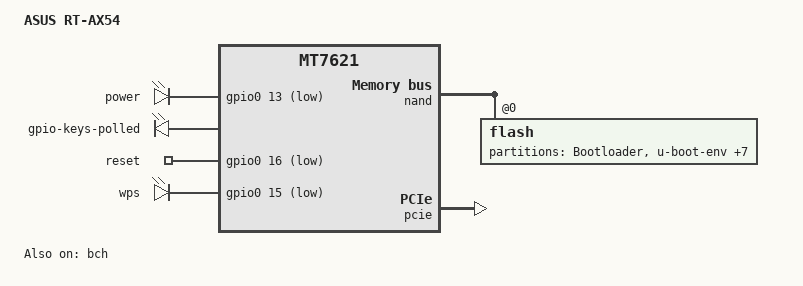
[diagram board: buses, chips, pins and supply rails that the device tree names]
/dts-v1/;

#include "mt7621.dtsi"
#include <dt-bindings/input/input.h>
#include "mt7621-raeth-gmac2.dtsi"
#include "mt7621-pinctrl-default-gpio.dtsi"

/ {
	compatible = "mediatek,mt7621-soc";
	model = "ASUS RT-AX54";

	chosen {
		bootargs = "console=ttyS0,115200";
	};

	leds {
		compatible = "gpio-leds";

		sys_blue {
			label = "power";
			gpios = <&gpio0 13 GPIO_ACTIVE_LOW>;
		};

	gpio-keys-polled {
		compatible = "gpio-keys-polled";
		#address-cells = <1>;
		#size-cells = <0>;
		poll-interval = <20>;
		};

		reset {
			label = "reset";
			gpios = <&gpio0 16 GPIO_ACTIVE_LOW>;
			linux,code = <KEY_RESTART>;
		};

		wps {
			label = "wps";
			gpios = <&gpio0 15 GPIO_ACTIVE_LOW>;
			linux,code = <KEY_WPS_BUTTON>;
		};
	};
};

&bch {
	status = "okay";
};

&nand {
	status = "okay";

	flash@0 {
		reg = <0>;
		nand-ecc-mode = "hw"; /* temporary, soon change to native nmbm when ported */
		partitions {
			compatible = "fixed-partitions";
			#address-cells = <1>;
			#size-cells = <1>;

			partition@0 {
				label = "Bootloader";
				reg = <0x00000 0x80000>; /* 512k */
			};
			
			partition@80000 {
				label = "u-boot-env";
				reg = <0x80000 0x80000>; /* 512k */
			};
			
			partition@100000 {
				label = "Factory";
				reg = <0x100000 0x100000>; /* 1024k */
			};

			partition@2e0000 {
				label = "factory2";
				reg = <0x2e0000 0x100000>; /* 1024k */
			};

			partition@600000 {
				label = "firmware";
				reg = <0x600000 0x1400000>; /* 20M */
			};

			partition@1a00000 {
				label = "Config";
				reg = <0x1a00000 0x80000>; /* 512K */
			};

			partition@1a80000 {
				label = "Storage";
				reg = <0x1a80000 0x400000>; /* 4096K */
			};

			partition@1e80000 {
				label = "RWFS";
				reg = <0x1e80000 0x51a0000>;
			}; /* 81625K */

			partition@all {
				label = "ALL";
				reg = <0x0 0x7020000>; /* last 8M are reserved for NMBM */
			};
		};
	};
};

&pcie {
	status = "okay";
};
